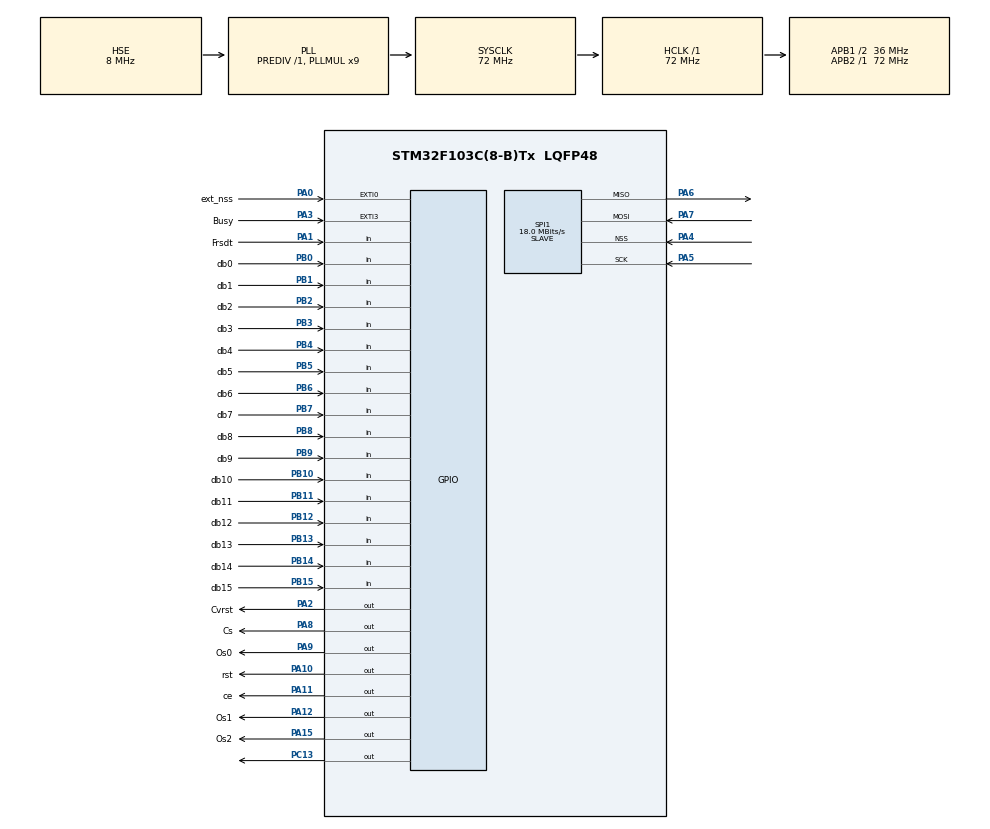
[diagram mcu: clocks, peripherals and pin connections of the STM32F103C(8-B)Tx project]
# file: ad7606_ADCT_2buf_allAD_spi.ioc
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Dma.Request0=SPI1_RX
Dma.Request1=SPI1_TX
Dma.SPI1_RX.0.Direction=DMA_PERIPH_TO_MEMORY
Dma.SPI1_RX.0.Instance=DMA1_Channel2
Dma.SPI1_RX.0.MemDataAlignment=DMA_MDATAALIGN_BYTE
Dma.SPI1_RX.0.MemInc=DMA_MINC_ENABLE
Dma.SPI1_RX.0.Mode=DMA_CIRCULAR
Dma.SPI1_RX.0.PeriphDataAlignment=DMA_PDATAALIGN_BYTE
Dma.SPI1_RX.0.PeriphInc=DMA_PINC_DISABLE
Dma.SPI1_RX.0.Priority=DMA_PRIORITY_HIGH
Dma.SPI1_TX.1.Direction=DMA_MEMORY_TO_PERIPH
Dma.SPI1_TX.1.Instance=DMA1_Channel3
Dma.SPI1_TX.1.MemDataAlignment=DMA_MDATAALIGN_BYTE
Dma.SPI1_TX.1.MemInc=DMA_MINC_ENABLE
Dma.SPI1_TX.1.Mode=DMA_CIRCULAR
Dma.SPI1_TX.1.PeriphDataAlignment=DMA_PDATAALIGN_BYTE
Dma.SPI1_TX.1.PeriphInc=DMA_PINC_DISABLE
Dma.SPI1_TX.1.Priority=DMA_PRIORITY_HIGH
FREERTOS.BinarySemaphores01=habAQ,Dynamic,NULL;habENV,Dynamic,NULL
FREERTOS.HEAP_NUMBER=5
FREERTOS.INCLUDE_xEventGroupSetBitFromISR=0
FREERTOS.Tasks01=enviaTask,24,128,StartEnviaTask,Default,NULL,Dynamic,NULL,NULL;aquisitaTask,40,128,StartAquisitaTask,Default,NULL,Dynamic,NULL,NULL
FREERTOS.configGENERATE_RUN_TIME_STATS=1
FREERTOS.configTOTAL_HEAP_SIZE=6072
FREERTOS.configUSE_TIMERS=1
Mcu.Family=STM32F1
Mcu.Name=STM32F103C(8-B)Tx
Mcu.Package=LQFP48
NVIC.DMA1_Channel2_IRQn=true\:5\:0\:false\:false\:true\:true\:false\:true
NVIC.DMA1_Channel3_IRQn=true\:5\:0\:true\:false\:true\:true\:false\:true
NVIC.EXTI3_IRQn=true\:5\:0\:true\:false\:true\:true\:true\:true
NVIC.PriorityGroup=NVIC_PRIORITYGROUP_4
NVIC.SPI1_IRQn=true\:5\:0\:true\:false\:true\:true\:true\:true
NVIC.TIM1_BRK_IRQn=true\:5\:0\:false\:false\:true\:true\:true\:true
NVIC.TIM2_IRQn=true\:0\:0\:false\:false\:true\:false\:false\:true
NVIC.TimeBase=TIM2_IRQn
NVIC.TimeBaseIP=TIM2
PA0-WKUP.GPIO_Label=ext_nss
PA0-WKUP.Signal=GPXTI0
PA1.GPIO_Label=Frsdt
PA1.Signal=GPIO_Input
PA10.GPIO_Label=rst
PA10.GPIO_Speed=GPIO_SPEED_FREQ_LOW
PA10.Signal=GPIO_Output
PA11.GPIO_Label=ce
PA11.GPIO_Speed=GPIO_SPEED_FREQ_HIGH
PA11.Signal=GPIO_Output
PA12.GPIO_Label=Os1
PA12.Signal=GPIO_Output
PA13.Mode=Serial_Wire
PA13.Signal=SYS_JTMS-SWDIO
PA14.Mode=Serial_Wire
PA14.Signal=SYS_JTCK-SWCLK
PA15.GPIO_Label=Os2
PA15.Signal=GPIO_Output
PA2.GPIO_Label=Cvrst
PA2.GPIO_Speed=GPIO_SPEED_FREQ_HIGH
PA2.PinState=GPIO_PIN_SET
PA2.Signal=GPIO_Output
PA3.GPIO_Label=Busy
PA3.GPIO_ModeDefaultEXTI=GPIO_MODE_IT_FALLING
PA3.Signal=GPXTI3
PA4.Mode=NSS_Signal_Hard_Input
PA4.Signal=SPI1_NSS
PA5.Mode=Full_Duplex_Slave
PA5.Signal=SPI1_SCK
PA6.Mode=Full_Duplex_Slave
PA6.Signal=SPI1_MISO
PA7.Mode=Full_Duplex_Slave
PA7.Signal=SPI1_MOSI
PA8.GPIO_Label=Cs
PA8.GPIO_Speed=GPIO_SPEED_FREQ_HIGH
PA8.PinState=GPIO_PIN_SET
PA8.Signal=GPIO_Output
PA9.GPIO_Label=Os0
PA9.Signal=GPIO_Output
PB0.GPIO_Label=db0
PB0.Signal=GPIO_Input
PB1.GPIO_Label=db1
PB1.Signal=GPIO_Input
PB10.GPIO_Label=db10
PB10.Signal=GPIO_Input
PB11.GPIO_Label=db11
PB11.Signal=GPIO_Input
PB12.GPIO_Label=db12
PB12.Signal=GPIO_Input
PB13.GPIO_Label=db13
PB13.Signal=GPIO_Input
PB14.GPIO_Label=db14
PB14.Signal=GPIO_Input
PB15.GPIO_Label=db15
PB15.Signal=GPIO_Input
PB2.GPIO_Label=db2
PB2.Signal=GPIO_Input
PB3.GPIO_Label=db3
PB3.Signal=GPIO_Input
PB4.GPIO_Label=db4
PB4.Signal=GPIO_Input
PB5.GPIO_Label=db5
PB5.Signal=GPIO_Input
PB6.GPIO_Label=db6
PB6.Signal=GPIO_Input
PB7.GPIO_Label=db7
PB7.Signal=GPIO_Input
PB8.GPIO_Label=db8
PB8.Signal=GPIO_Input
PB9.GPIO_Label=db9
PB9.Signal=GPIO_Input
PC13-TAMPER-RTC.Signal=GPIO_Output
PC14-OSC32_IN.Mode=LSE-External-Oscillator
PC14-OSC32_IN.Signal=RCC_OSC32_IN
PC15-OSC32_OUT.Mode=LSE-External-Oscillator
PC15-OSC32_OUT.Signal=RCC_OSC32_OUT
PD0-OSC_IN.Mode=HSE-External-Oscillator
PD0-OSC_IN.Signal=RCC_OSC_IN
PD1-OSC_OUT.Mode=HSE-External-Oscillator
PD1-OSC_OUT.Signal=RCC_OSC_OUT
ProjectManager.HeapSize=0x200
ProjectManager.StackSize=0x400
ProjectManager.TargetToolchain=STM32CubeIDE
RCC.AHBFreq_Value=72000000
RCC.APB1CLKDivider=RCC_HCLK_DIV2
RCC.APB1Freq_Value=36000000
RCC.APB1TimFreq_Value=72000000
RCC.APB2Freq_Value=72000000
RCC.APB2TimFreq_Value=72000000
RCC.HCLKFreq_Value=72000000
RCC.PLLMUL=RCC_PLL_MUL9
RCC.PLLSourceVirtual=RCC_PLLSOURCE_HSE
RCC.RTCClockSelection=RCC_RTCCLKSOURCE_LSE
RCC.SYSCLKFreq_VALUE=72000000
RCC.SYSCLKSource=RCC_SYSCLKSOURCE_PLLCLK
RCC.USBFreq_Value=48000000
RCC.USBPrescaler=RCC_USBCLKSOURCE_PLL_DIV1_5
RTC.AutoPrediv=0
RTC.Format=RTC_FORMAT_BIN
RTC.OutPut=RTC_OUTPUTSOURCE_SECOND
SPI1.BaudRatePrescaler=SPI_BAUDRATEPRESCALER_4
SPI1.CalculateBaudRate=18.0 MBits/s
SPI1.DataSize=SPI_DATASIZE_8BIT
SPI1.Direction=SPI_DIRECTION_2LINES
SPI1.Mode=SPI_MODE_SLAVE
SPI1.VirtualNSS=VM_NSSHARD
SPI1.VirtualType=VM_SLAVE
TIM1.AutoReloadPreload=TIM_AUTORELOAD_PRELOAD_ENABLE
TIM1.Period=333
TIM1.Prescaler=35
VP_FREERTOS_VS_CMSIS_V2.Mode=CMSIS_V2
VP_RTC_VS_RTC_Activate.Mode=RTC_Enabled
VP_SYS_VS_tim2.Mode=TIM2
VP_TIM1_VS_ClockSourceINT.Mode=Internal
board=custom

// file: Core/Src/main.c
/* USER CODE BEGIN Header */
/**
  ******************************************************************************
  * @file           : main.c
  * @brief          : Main program body
  ******************************************************************************
  * @attention
  *
  * <h2><center>&copy; Copyright (c) 2020 STMicroelectronics.
  * All rights reserved.</center></h2>
  *
  * This software component is licensed by ST under Ultimate Liberty license
  * SLA0044, the "License"; You may not use this file except in compliance with
  * the License. You may obtain a copy of the License at:
  *                             www.st.com/SLA0044
  *
  ******************************************************************************
  */
/* USER CODE END Header */

#include "main.h"
#include "cmsis_os.h"

/* USER CODE BEGIN Includes */
#include "stream_buffer.h"
#include "cmsis_os2.h"
/* USER CODE END Includes */

/* USER CODE BEGIN PTD */
StreamBufferHandle_t xStreamBuffer;
StreamBufferHandle_t zStreamBuffer;
/* USER CODE END PTD */

RTC_HandleTypeDef hrtc;

SPI_HandleTypeDef hspi1;
DMA_HandleTypeDef hdma_spi1_rx;
DMA_HandleTypeDef hdma_spi1_tx;

TIM_HandleTypeDef htim1;

/* Definitions for enviaTask */
osThreadId_t enviaTaskHandle;
const osThreadAttr_t enviaTask_attributes = {
  .name = "enviaTask",
  .priority = (osPriority_t) osPriorityNormal,
  .stack_size = 128 * 4
};
/* Definitions for aquisitaTask */
osThreadId_t aquisitaTaskHandle;
const osThreadAttr_t aquisitaTask_attributes = {
  .name = "aquisitaTask",
  .priority = (osPriority_t) osPriorityHigh,
  .stack_size = 128 * 4
};
/* Definitions for habAQ */
osSemaphoreId_t habAQHandle;
const osSemaphoreAttr_t habAQ_attributes = {
  .name = "habAQ"
};
/* Definitions for habENV */
osSemaphoreId_t habENVHandle;
const osSemaphoreAttr_t habENV_attributes = {
  .name = "habENV"
};
/* USER CODE BEGIN PV */
int i=0, j=0, k=0;
/* USER CODE END PV */

void SystemClock_Config(void);
static void MX_GPIO_Init(void);
static void MX_DMA_Init(void);
static void MX_SPI1_Init(void);
static void MX_RTC_Init(void);
static void MX_TIM1_Init(void);
void StartEnviaTask(void *argument);
void StartAquisitaTask(void *argument);

/* USER CODE BEGIN PFP */
void HAL_GPIO_EXTI_Callback(uint16_t GPIO_Pin);
void Reset(void);
void Oversampling(void);
void Range(void);
void Converst(void);
void Read(void);
int aquisicao(void);//uint8_t i);
void envia (void);
void vAFunction( void );
void vA_send_Function(  uint8_t to_send[16] );
void vA_receive_Function(void);
/* USER CODE END PFP */

int main(void)
{

  /* MCU Configuration--------------------------------------------------------*/

  /* Reset of all peripherals, Initializes the Flash interface and the Systick. */
  HAL_Init();

  /* Configure the system clock */
  SystemClock_Config();

  /* Initialize all configured peripherals */
  MX_GPIO_Init();
  MX_DMA_Init();
  MX_SPI1_Init();
  MX_RTC_Init();
  MX_TIM1_Init();
  /* USER CODE BEGIN 2 */
  HAL_TIM_Base_Start_IT(&htim1);
  /* USER CODE END 2 */

  /* Init scheduler */
  osKernelInitialize();

  /* Create the semaphores(s) */
  /* creation of habAQ */
  habAQHandle = osSemaphoreNew(1, 1, &habAQ_attributes);

  /* creation of habENV */
  habENVHandle = osSemaphoreNew(1, 1, &habENV_attributes);

  /* Create the thread(s) */
  /* creation of enviaTask */
  enviaTaskHandle = osThreadNew(StartEnviaTask, NULL, &enviaTask_attributes);

  /* creation of aquisitaTask */
  aquisitaTaskHandle = osThreadNew(StartAquisitaTask, NULL, &aquisitaTask_attributes);

  /* Start scheduler */
  osKernelStart();

  /* We should never get here as control is now taken by the scheduler */
  /* Infinite loop */
  while (1)
  {

  }
}

void SystemClock_Config(void)
{
  RCC_OscInitTypeDef RCC_OscInitStruct = {0};
  RCC_ClkInitTypeDef RCC_ClkInitStruct = {0};
  RCC_PeriphCLKInitTypeDef PeriphClkInit = {0};

  /** Initializes the CPU, AHB and APB busses clocks
  */
  RCC_OscInitStruct.OscillatorType = RCC_OSCILLATORTYPE_HSE|RCC_OSCILLATORTYPE_LSE;
  RCC_OscInitStruct.HSEState = RCC_HSE_ON;
  RCC_OscInitStruct.HSEPredivValue = RCC_HSE_PREDIV_DIV1;
  RCC_OscInitStruct.LSEState = RCC_LSE_ON;
  RCC_OscInitStruct.HSIState = RCC_HSI_ON;
  RCC_OscInitStruct.PLL.PLLState = RCC_PLL_ON;
  RCC_OscInitStruct.PLL.PLLSource = RCC_PLLSOURCE_HSE;
  RCC_OscInitStruct.PLL.PLLMUL = RCC_PLL_MUL9;
  if (HAL_RCC_OscConfig(&RCC_OscInitStruct) != HAL_OK)
  {
    Error_Handler();
  }
  /** Initializes the CPU, AHB and APB busses clocks
  */
  RCC_ClkInitStruct.ClockType = RCC_CLOCKTYPE_HCLK|RCC_CLOCKTYPE_SYSCLK
                              |RCC_CLOCKTYPE_PCLK1|RCC_CLOCKTYPE_PCLK2;
  RCC_ClkInitStruct.SYSCLKSource = RCC_SYSCLKSOURCE_PLLCLK;
  RCC_ClkInitStruct.AHBCLKDivider = RCC_SYSCLK_DIV1;
  RCC_ClkInitStruct.APB1CLKDivider = RCC_HCLK_DIV2;
  RCC_ClkInitStruct.APB2CLKDivider = RCC_HCLK_DIV1;

  if (HAL_RCC_ClockConfig(&RCC_ClkInitStruct, FLASH_LATENCY_2) != HAL_OK)
  {
    Error_Handler();
  }
  PeriphClkInit.PeriphClockSelection = RCC_PERIPHCLK_RTC;
  PeriphClkInit.RTCClockSelection = RCC_RTCCLKSOURCE_LSE;
  if (HAL_RCCEx_PeriphCLKConfig(&PeriphClkInit) != HAL_OK)
  {
    Error_Handler();
  }
}

static void MX_RTC_Init(void)
{

  /** Initialize RTC Only
  */
  hrtc.Instance = RTC;
  hrtc.Init.AsynchPrediv = 127;
  hrtc.Init.OutPut = RTC_OUTPUTSOURCE_SECOND;
  if (HAL_RTC_Init(&hrtc) != HAL_OK)
  {
    Error_Handler();
  }

}

static void MX_SPI1_Init(void)
{

  /* SPI1 parameter configuration*/
  hspi1.Instance = SPI1;
  hspi1.Init.Mode = SPI_MODE_SLAVE;
  hspi1.Init.Direction = SPI_DIRECTION_2LINES;
  hspi1.Init.DataSize = SPI_DATASIZE_8BIT;
  hspi1.Init.CLKPolarity = SPI_POLARITY_LOW;
  hspi1.Init.CLKPhase = SPI_PHASE_1EDGE;
  hspi1.Init.NSS = SPI_NSS_HARD_INPUT;
  hspi1.Init.BaudRatePrescaler = SPI_BAUDRATEPRESCALER_4;
  hspi1.Init.FirstBit = SPI_FIRSTBIT_MSB;
  hspi1.Init.TIMode = SPI_TIMODE_DISABLE;
  hspi1.Init.CRCCalculation = SPI_CRCCALCULATION_DISABLE;
  hspi1.Init.CRCPolynomial = 10;
  if (HAL_SPI_Init(&hspi1) != HAL_OK)
  {
    Error_Handler();
  }

}

static void MX_TIM1_Init(void)
{

  TIM_ClockConfigTypeDef sClockSourceConfig = {0};
  TIM_MasterConfigTypeDef sMasterConfig = {0};

  htim1.Instance = TIM1;
  htim1.Init.Prescaler = 35;
  htim1.Init.CounterMode = TIM_COUNTERMODE_UP;
  htim1.Init.Period = 1333;
  htim1.Init.ClockDivision = TIM_CLOCKDIVISION_DIV1;
  htim1.Init.RepetitionCounter = 0;
  htim1.Init.AutoReloadPreload = TIM_AUTORELOAD_PRELOAD_ENABLE;
  if (HAL_TIM_Base_Init(&htim1) != HAL_OK)
  {
    Error_Handler();
  }
  sClockSourceConfig.ClockSource = TIM_CLOCKSOURCE_INTERNAL;
  if (HAL_TIM_ConfigClockSource(&htim1, &sClockSourceConfig) != HAL_OK)
  {
    Error_Handler();
  }
  sMasterConfig.MasterOutputTrigger = TIM_TRGO_RESET;
  sMasterConfig.MasterSlaveMode = TIM_MASTERSLAVEMODE_DISABLE;
  if (HAL_TIMEx_MasterConfigSynchronization(&htim1, &sMasterConfig) != HAL_OK)
  {
    Error_Handler();
  }

}

static void MX_DMA_Init(void)
{

  /* DMA controller clock enable */
  __HAL_RCC_DMA1_CLK_ENABLE();

  /* DMA interrupt init */
  /* DMA1_Channel2_IRQn interrupt configuration */
  HAL_NVIC_SetPriority(DMA1_Channel2_IRQn, 5, 0);
  HAL_NVIC_EnableIRQ(DMA1_Channel2_IRQn);
  /* DMA1_Channel3_IRQn interrupt configuration */
  HAL_NVIC_SetPriority(DMA1_Channel3_IRQn, 5, 0);
  HAL_NVIC_EnableIRQ(DMA1_Channel3_IRQn);

}

static void MX_GPIO_Init(void)
{
  GPIO_InitTypeDef GPIO_InitStruct = {0};

  /* GPIO Ports Clock Enable */
  __HAL_RCC_GPIOC_CLK_ENABLE();
  __HAL_RCC_GPIOD_CLK_ENABLE();
  __HAL_RCC_GPIOA_CLK_ENABLE();
  __HAL_RCC_GPIOB_CLK_ENABLE();

  /*Configure GPIO pin Output Level */
  HAL_GPIO_WritePin(GPIOC, GPIO_PIN_13, GPIO_PIN_RESET);

  /*Configure GPIO pin Output Level */
  HAL_GPIO_WritePin(GPIOA, Cvrst_Pin|Cs_Pin, GPIO_PIN_SET);

  /*Configure GPIO pin Output Level */
  HAL_GPIO_WritePin(GPIOA, Os0_Pin|rst_Pin|ce_Pin|Os1_Pin
                          |Os2_Pin, GPIO_PIN_RESET);

  /*Configure GPIO pin : PC13 */
  GPIO_InitStruct.Pin = GPIO_PIN_13;
  GPIO_InitStruct.Mode = GPIO_MODE_OUTPUT_PP;
  GPIO_InitStruct.Pull = GPIO_NOPULL;
  GPIO_InitStruct.Speed = GPIO_SPEED_FREQ_LOW;
  HAL_GPIO_Init(GPIOC, &GPIO_InitStruct);

  /*Configure GPIO pin : ext_nss_Pin */
  GPIO_InitStruct.Pin = ext_nss_Pin;
  GPIO_InitStruct.Mode = GPIO_MODE_IT_RISING;
  GPIO_InitStruct.Pull = GPIO_NOPULL;
  HAL_GPIO_Init(ext_nss_GPIO_Port, &GPIO_InitStruct);

  /*Configure GPIO pin : Frsdt_Pin */
  GPIO_InitStruct.Pin = Frsdt_Pin;
  GPIO_InitStruct.Mode = GPIO_MODE_INPUT;
  GPIO_InitStruct.Pull = GPIO_NOPULL;
  HAL_GPIO_Init(Frsdt_GPIO_Port, &GPIO_InitStruct);

  /*Configure GPIO pins : Cvrst_Pin Cs_Pin ce_Pin */
  GPIO_InitStruct.Pin = Cvrst_Pin|Cs_Pin|ce_Pin;
  GPIO_InitStruct.Mode = GPIO_MODE_OUTPUT_PP;
  GPIO_InitStruct.Pull = GPIO_NOPULL;
  GPIO_InitStruct.Speed = GPIO_SPEED_FREQ_HIGH;
  HAL_GPIO_Init(GPIOA, &GPIO_InitStruct);

  /*Configure GPIO pin : Busy_Pin */
  GPIO_InitStruct.Pin = Busy_Pin;
  GPIO_InitStruct.Mode = GPIO_MODE_IT_FALLING;
  GPIO_InitStruct.Pull = GPIO_NOPULL;
  HAL_GPIO_Init(Busy_GPIO_Port, &GPIO_InitStruct);

  /*Configure GPIO pins : db0_Pin db1_Pin db2_Pin db10_Pin
                           db11_Pin db12_Pin db13_Pin db14_Pin
                           db15_Pin db3_Pin db4_Pin db5_Pin
                           db6_Pin db7_Pin db8_Pin db9_Pin */
  GPIO_InitStruct.Pin = db0_Pin|db1_Pin|db2_Pin|db10_Pin
                          |db11_Pin|db12_Pin|db13_Pin|db14_Pin
                          |db15_Pin|db3_Pin|db4_Pin|db5_Pin
                          |db6_Pin|db7_Pin|db8_Pin|db9_Pin;
  GPIO_InitStruct.Mode = GPIO_MODE_INPUT;
  GPIO_InitStruct.Pull = GPIO_NOPULL;
  HAL_GPIO_Init(GPIOB, &GPIO_InitStruct);

  /*Configure GPIO pins : Os0_Pin rst_Pin Os1_Pin Os2_Pin */
  GPIO_InitStruct.Pin = Os0_Pin|rst_Pin|Os1_Pin|Os2_Pin;
  GPIO_InitStruct.Mode = GPIO_MODE_OUTPUT_PP;
  GPIO_InitStruct.Pull = GPIO_NOPULL;
  GPIO_InitStruct.Speed = GPIO_SPEED_FREQ_LOW;
  HAL_GPIO_Init(GPIOA, &GPIO_InitStruct);

  /* EXTI interrupt init*/
  HAL_NVIC_SetPriority(EXTI3_IRQn, 5, 0);
  HAL_NVIC_EnableIRQ(EXTI3_IRQn);

}

/* USER CODE BEGIN 4 */
void Reset(void)
{
	HAL_GPIO_WritePin(GPIOA, rst_Pin, 1);
	HAL_GPIO_WritePin(GPIOA, rst_Pin, 0);

}
void Oversampling(void)
{
	HAL_GPIO_WritePin(GPIOA, Os0_Pin, 0);
	HAL_GPIO_WritePin(GPIOA, Os1_Pin, 0);
	HAL_GPIO_WritePin(GPIOA, Os2_Pin, 0);

}
void Range(void)
{
	//HAL_GPIO_WritePin(GPIOA, range_Pin, 1);

}
void Converst(void)
{
	 HAL_GPIO_WritePin(GPIOA, Cvrst_Pin, 0);
	 HAL_GPIO_WritePin(GPIOA, Cvrst_Pin, 1);
}

 void Read(void)
{

	 	size_t xBytesSent;
	 	size_t zBytesSent;
	 	const TickType_t x100ms = pdMS_TO_TICKS( 100 );
	 	BaseType_t xEmpty;
	 	BaseType_t zEmpty;
	 	uint16_t valor;
	 	static unsigned char valor2;
	 	static unsigned char valor3;
	 	static unsigned char canais[400];

	 		for (i=0+k; i<k+16;)
	 			{
	 				HAL_GPIO_WritePin(GPIOA, Cs_Pin, 0);
	 				HAL_GPIO_WritePin(GPIOA, ce_Pin, 1);

	 				valor = GPIOB->IDR;
	 				valor2 = (valor & 255);
	 				valor3 = ((valor>>8) & 255);
	 				canais[i]= valor3;
	 				canais[i+1]= valor2;

	 			//if (HAL_GPIO_ReadPin(GPIOA, Frsdt_Pin)==1)
	 			////{
	 				//i=0;
	 			//}

	 				i=i+2;
	 				HAL_GPIO_WritePin(GPIOA, Cs_Pin, 1);
	 				HAL_GPIO_WritePin(GPIOA, ce_Pin, 0);

	 			}
	 		j++;
	 		k=k+16;

	 		if(j>=24)
	 		 	{
	 			 __HAL_TIM_DISABLE_IT(&htim1, TIM_IT_BREAK);
	 			  xEmpty = xStreamBufferIsEmpty(xStreamBuffer );
	 			  if (xEmpty==pdTRUE)
	 			  {
	 				 xBytesSent = xStreamBufferSend( xStreamBuffer, (void *)canais, 400, x100ms );

	 			   if (xBytesSent == sizeof( canais ))
	 			    {
	 				  osSemaphoreRelease (habENVHandle);
	 			    }
	 			  }
	 			 else if (xEmpty==pdFALSE)
	 			  {
	 			   zEmpty = xStreamBufferIsEmpty(zStreamBuffer );
	 			   if (zEmpty==pdTRUE)
	 			    {
	 				 zBytesSent = xStreamBufferSend( zStreamBuffer, (void *)canais, 400, x100ms );

	 				  if (zBytesSent == sizeof( canais ))
	 				   {
	 					 osSemaphoreRelease (habENVHandle);
	 				   }
	 		 	    }
	 	          }
	 		 	}

}

/* USER CODE BEGIN 4 */
void HAL_GPIO_EXTI_Callback(uint16_t GPIO_Pin)
{
	if (GPIO_Pin == Busy_Pin)

	{
	 osSemaphoreRelease (habAQHandle);
 	}

}
void vAFunction( void )
{
	//StreamBufferHandle_t xStreamBuffers;
	const size_t xStreamBufferSizeBytes = 2656, xTriggerLevel = 2656;

    /* Create a stream buffer that can hold 100 bytes.  The memory used to hold
    both the stream buffer structure and the data in the stream buffer is
    allocated dynamically. */
    xStreamBuffer = xStreamBufferCreate( xStreamBufferSizeBytes, xTriggerLevel );
    zStreamBuffer = xStreamBufferCreate( xStreamBufferSizeBytes, xTriggerLevel );

    //if( xStreamBuffer == NULL )
    //{
        /* There was not enough heap memory space available to create the
        stream buffer. */
   // }
   // else
    //{
        /* The stream buffer was created successfully and can now be used. */
   // }
}

/* USER CODE END 4 */

void StartEnviaTask(void *argument)
{
  /* USER CODE BEGIN 5 */
  vAFunction();
  static unsigned char ucRxData[400];
  size_t xReceivedBytes;
  size_t zReceivedBytes;
  BaseType_t xFull;
  BaseType_t zFull;
  const TickType_t xBlockTime = pdMS_TO_TICKS( 20 );
	  /* Infinite loop */
  for(;;)
  {
	osSemaphoreAcquire (habENVHandle, osWaitForever);
	i=0, j=0, k=0;
	xFull = xStreamBufferIsFull( xStreamBuffer );
	if (xFull==pdTRUE)
		{
		  xReceivedBytes = xStreamBufferReceive( xStreamBuffer, (void *)ucRxData, 400, xBlockTime );
		  if( xReceivedBytes == sizeof( ucRxData ) )
			{
			 HAL_SPI_Transmit_DMA(&hspi1, ucRxData, 400);
			 xStreamBufferReset(zStreamBuffer);
			 __HAL_TIM_ENABLE_IT(&htim1, TIM_IT_BREAK);
			}
		 }
	else if (xFull==pdFALSE)
		{
		  zFull = xStreamBufferIsFull( zStreamBuffer );
		  if (zFull==pdTRUE)
		  	 {
			  zReceivedBytes = xStreamBufferReceive( zStreamBuffer, (void *)ucRxData, 400, xBlockTime );
			  if( zReceivedBytes == sizeof( ucRxData ) )
		  		 {
				  HAL_SPI_Transmit_DMA(&hspi1, ucRxData, 400);
				  xStreamBufferReset(xStreamBuffer);
		  			__HAL_TIM_ENABLE_IT(&htim1, TIM_IT_BREAK);
		  		 }
		  	  }
		 }
  }
}

  /* USER CODE END 5 */

void StartAquisitaTask(void *argument)
{
  /* USER CODE BEGIN StartAquisitaTask */
	vAFunction();
  /* Infinite loop */
  for(;;)
  {
	  //Converst();
	  osSemaphoreAcquire (habAQHandle, osWaitForever );
	  Read();
	  osDelay(0);

  }
  /* USER CODE END StartAquisitaTask */
}

 /**
  * @brief  Period elapsed callback in non blocking mode
  * @note   This function is called  when TIM2 interrupt took place, inside
  * HAL_TIM_IRQHandler(). It makes a direct call to HAL_IncTick() to increment
  * a global variable "uwTick" used as application time base.
  * @param  htim : TIM handle
  * @retval None
  */
void HAL_TIM_PeriodElapsedCallback(TIM_HandleTypeDef *htim)
{
  /* USER CODE BEGIN Callback 0 */
  if (htim->Instance == TIM1) {

	  {
		  Converst();
	  }
  }

  /* USER CODE END Callback 0 */
  if (htim->Instance == TIM2) {
    HAL_IncTick();
  }
}

void Error_Handler(void)
{
}

/************************ (C) COPYRIGHT STMicroelectronics *****END OF FILE****/
